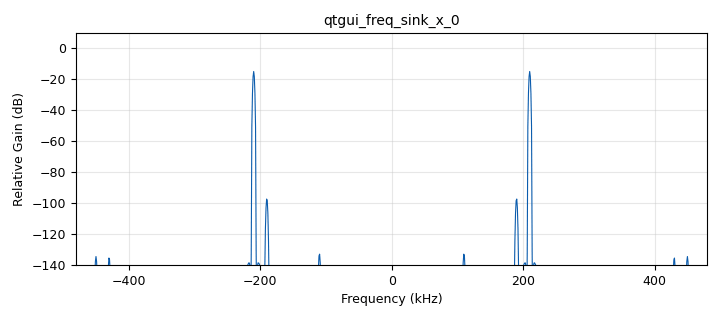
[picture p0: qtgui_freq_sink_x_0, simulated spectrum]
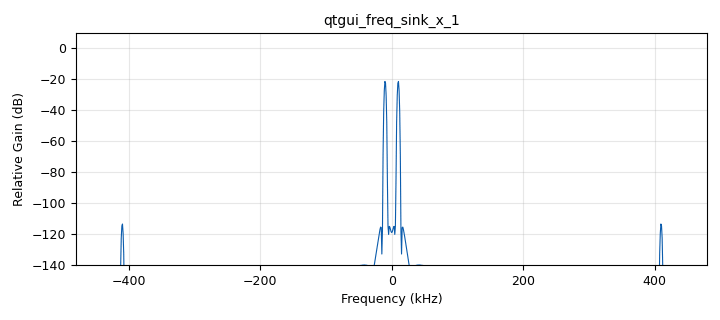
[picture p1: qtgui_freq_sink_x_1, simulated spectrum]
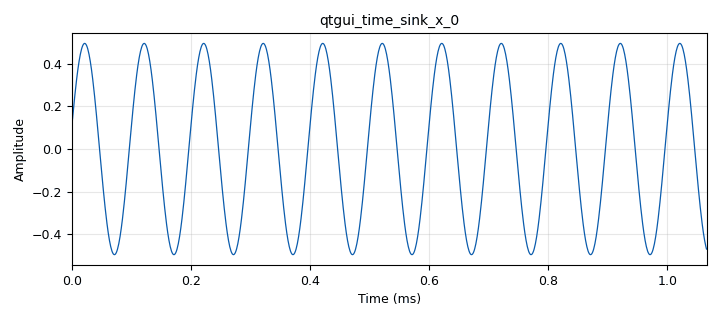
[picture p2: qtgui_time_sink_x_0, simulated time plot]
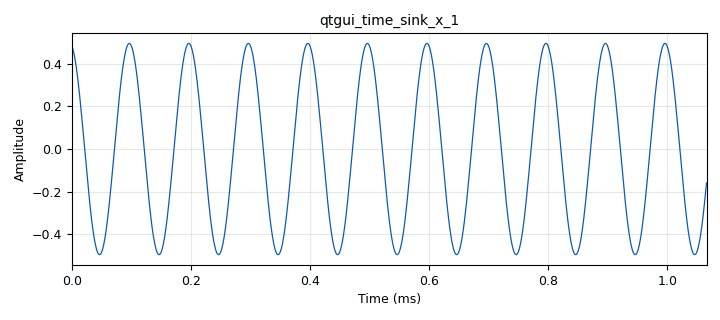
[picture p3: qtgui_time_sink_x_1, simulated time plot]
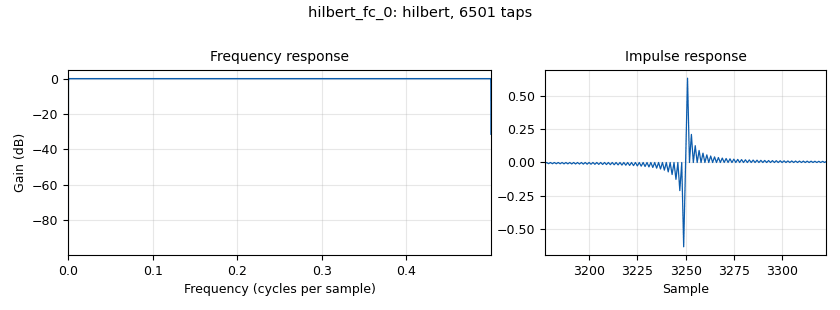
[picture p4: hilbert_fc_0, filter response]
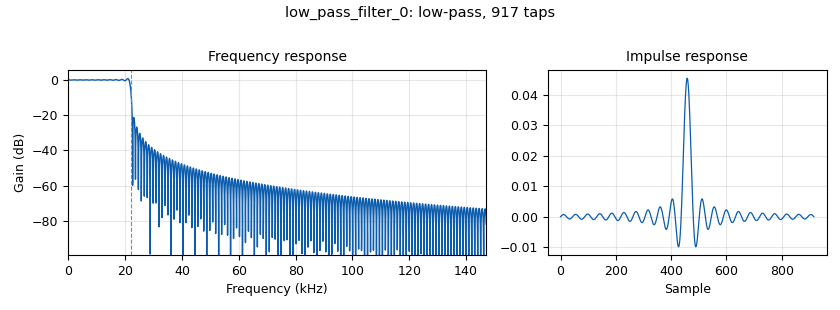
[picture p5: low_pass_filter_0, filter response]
options:
  parameters:
    generate_options: qt_gui
    id: lab2c
    output_language: python
    title: lab2c
  states: {}

blocks:
- name: samp_rate
  id: variable
  parameters:
    value: '960000'
  states: {}
- name: analog_sig_source_x_0
  id: analog_sig_source_x
  parameters:
    amp: '1'
    freq: '200000'
    offset: '0'
    phase: '0'
    samp_rate: samp_rate
    type: float
    waveform: analog.GR_SIN_WAVE
  states: {}
- name: analog_sig_source_x_0_0
  id: analog_sig_source_x
  parameters:
    amp: '1'
    freq: '200000'
    offset: '0'
    phase: '0'
    samp_rate: samp_rate
    type: float
    waveform: analog.GR_SIN_WAVE
  states: {}
- name: analog_sig_source_x_1
  id: analog_sig_source_x
  parameters:
    amp: '1'
    freq: '200000'
    offset: '0'
    phase: '0'
    samp_rate: samp_rate
    type: float
    waveform: analog.GR_COS_WAVE
  states: {}
- name: analog_sig_source_x_1_0
  id: analog_sig_source_x
  parameters:
    amp: '1'
    freq: '200000'
    offset: '0'
    phase: '0'
    samp_rate: samp_rate
    type: float
    waveform: analog.GR_COS_WAVE
  states: {}
- name: analog_sig_source_x_2
  id: analog_sig_source_x
  parameters:
    amp: '1'
    freq: '10000'
    offset: '0'
    phase: '0'
    samp_rate: samp_rate
    type: float
    waveform: analog.GR_COS_WAVE
  states: {}
- name: blocks_add_xx_0
  id: blocks_add_xx
  parameters:
    type: float
  states: {}
- name: blocks_complex_to_float_0
  id: blocks_complex_to_float
  parameters: {}
  states: {}
- name: blocks_multiply_const_vxx_0
  id: blocks_multiply_const_vxx
  parameters:
    const: '-1'
    type: float
  states: {}
- name: blocks_multiply_const_vxx_0_0
  id: blocks_multiply_const_vxx
  parameters:
    const: '-1'
    type: float
  states: {}
- name: blocks_multiply_xx_0
  id: blocks_multiply_xx
  parameters:
    type: float
  states: {}
- name: blocks_multiply_xx_0_0
  id: blocks_multiply_xx
  parameters:
    type: float
  states: {}
- name: blocks_multiply_xx_1
  id: blocks_multiply_xx
  parameters:
    type: float
  states: {}
- name: blocks_multiply_xx_1_0
  id: blocks_multiply_xx
  parameters:
    type: float
  states: {}
- name: blocks_throttle_0
  id: blocks_throttle
  parameters:
    samples_per_second: samp_rate
    type: float
  states: {}
- name: blocks_throttle_1
  id: blocks_throttle
  parameters:
    samples_per_second: samp_rate
    type: float
  states: {}
- name: blocks_throttle_2
  id: blocks_throttle
  parameters:
    samples_per_second: samp_rate
    type: float
  states: {}
- name: hilbert_fc_0
  id: hilbert_fc
  parameters:
    num_taps: '6500'
  states: {}
- name: low_pass_filter_0
  id: low_pass_filter
  parameters:
    cutoff_freq: '22000'
    gain: '1'
    interp: '1'
    samp_rate: samp_rate
    type: interp_fir_filter_fff
    width: '1000'
    win: window.WIN_RECTANGULAR
  states: {}
- name: low_pass_filter_1
  id: low_pass_filter
  parameters:
    cutoff_freq: '22000'
    gain: '1'
    interp: '1'
    samp_rate: samp_rate
    type: interp_fir_filter_fff
    width: '1000'
    win: window.WIN_RECTANGULAR
  states: {}
- name: qtgui_freq_sink_x_0
  id: qtgui_freq_sink_x
  parameters:
    bw: samp_rate
    fc: '0'
    fftsize: '1024'
    type: float
  states: {}
- name: qtgui_freq_sink_x_1
  id: qtgui_freq_sink_x
  parameters:
    bw: samp_rate
    fc: '0'
    fftsize: '1024'
    type: float
  states: {}
- name: qtgui_time_sink_x_0
  id: qtgui_time_sink_x
  parameters:
    autoscale: 'True'
    size: '1024'
    srate: samp_rate
    type: float
  states: {}
- name: qtgui_time_sink_x_1
  id: qtgui_time_sink_x
  parameters:
    autoscale: 'True'
    size: '1024'
    srate: samp_rate
    type: float
  states: {}

connections:
- [analog_sig_source_x_0, '0', blocks_multiply_const_vxx_0, '0']
- [analog_sig_source_x_0_0, '0', blocks_multiply_const_vxx_0_0, '0']
- [analog_sig_source_x_1, '0', blocks_multiply_xx_0, '1']
- [analog_sig_source_x_1_0, '0', blocks_multiply_xx_0_0, '0']
- [analog_sig_source_x_2, '0', hilbert_fc_0, '0']
- [blocks_add_xx_0, '0', blocks_multiply_xx_0_0, '1']
- [blocks_add_xx_0, '0', blocks_multiply_xx_1_0, '0']
- [blocks_add_xx_0, '0', blocks_throttle_2, '0']
- [blocks_complex_to_float_0, '0', blocks_multiply_xx_0, '0']
- [blocks_complex_to_float_0, '1', blocks_multiply_xx_1, '1']
- [blocks_multiply_const_vxx_0, '0', blocks_multiply_xx_1, '0']
- [blocks_multiply_const_vxx_0_0, '0', blocks_multiply_xx_1_0, '1']
- [blocks_multiply_xx_0, '0', blocks_add_xx_0, '0']
- [blocks_multiply_xx_0_0, '0', low_pass_filter_1, '0']
- [blocks_multiply_xx_1, '0', blocks_add_xx_0, '1']
- [blocks_multiply_xx_1_0, '0', low_pass_filter_0, '0']
- [blocks_throttle_0, '0', qtgui_time_sink_x_0, '0']
- [blocks_throttle_1, '0', qtgui_freq_sink_x_1, '0']
- [blocks_throttle_1, '0', qtgui_time_sink_x_1, '0']
- [blocks_throttle_2, '0', qtgui_freq_sink_x_0, '0']
- [hilbert_fc_0, '0', blocks_complex_to_float_0, '0']
- [low_pass_filter_0, '0', blocks_throttle_0, '0']
- [low_pass_filter_1, '0', blocks_throttle_1, '0']

metadata:
  file_format: 1
